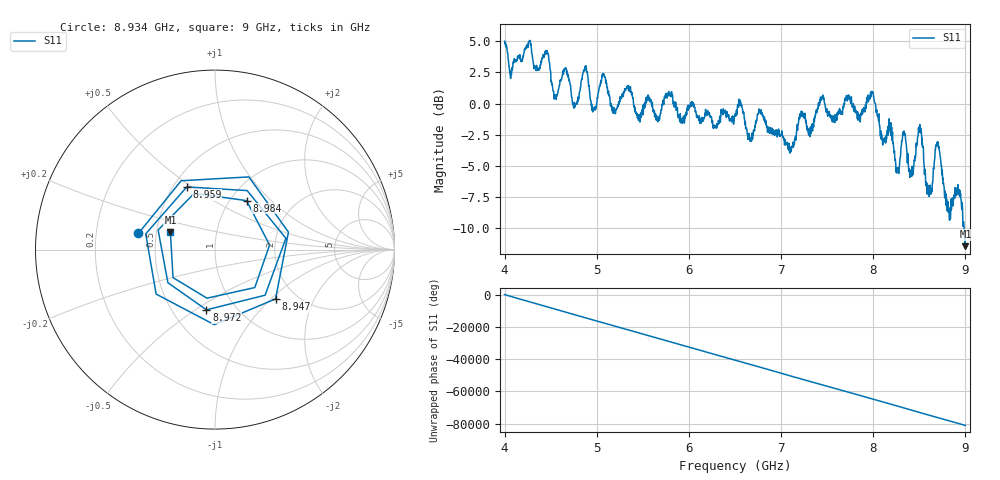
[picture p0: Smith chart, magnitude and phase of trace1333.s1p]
! Created with skrf 1.8.0 (http://scikit-rf.org).
# Hz S RI R 50.0
!freq ReS11 ImS11
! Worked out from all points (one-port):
!   1601 points, 4 GHz to 9 GHz, reference 50 ohm
!   lowest |S11| = -11.5 dB at 9 GHz (marker M1), VSWR 1.73, Z = 29.6 + j6.23 ohm
!   |S11| at or under -10 dB: 8.985702 GHz to end of sweep
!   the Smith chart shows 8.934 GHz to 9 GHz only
!   S11 on the Smith chart (normalised r, x): 8.934 GHz: 0.40, +0.09; 8.947 GHz: 1.58, -1.07; 8.959 GHz: 0.58, +0.48; 8.972 GHz: 0.73, -0.55; 8.984 GHz: 1.19, +0.72; 9 GHz: 0.59, +0.12
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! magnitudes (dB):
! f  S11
! 4 GHz  5.0
! 4.456 GHz  4.2
! 4.55 GHz  0.7
! 4.625 GHz  2.2
! 4.762 GHz  -0.3
! 4.872 GHz  3.0
! 4.966 GHz  -0.4
! 5.069 GHz  2.4
! 5.25 GHz  0.1
! 5.875 GHz  -0.3
! 6.5 GHz  -0.8
! 7.125 GHz  -3.5
! 7.441 GHz  0.4
! 7.75 GHz  0.3
! 7.988 GHz  0.9
! 8.259 GHz  -5.5
! 8.328 GHz  -2.3
! 8.375 GHz  -4.0
! 8.506 GHz  -1.7
! 8.594 GHz  -7.2
! 8.697 GHz  -3.2
! 8.816 GHz  -8.7
! 8.934 GHz  -7.2
! 8.947 GHz  -7.2
! 8.959 GHz  -8.3
! 8.972 GHz  -9.4
! 8.984 GHz  -9.8
! 9 GHz  -11.5
